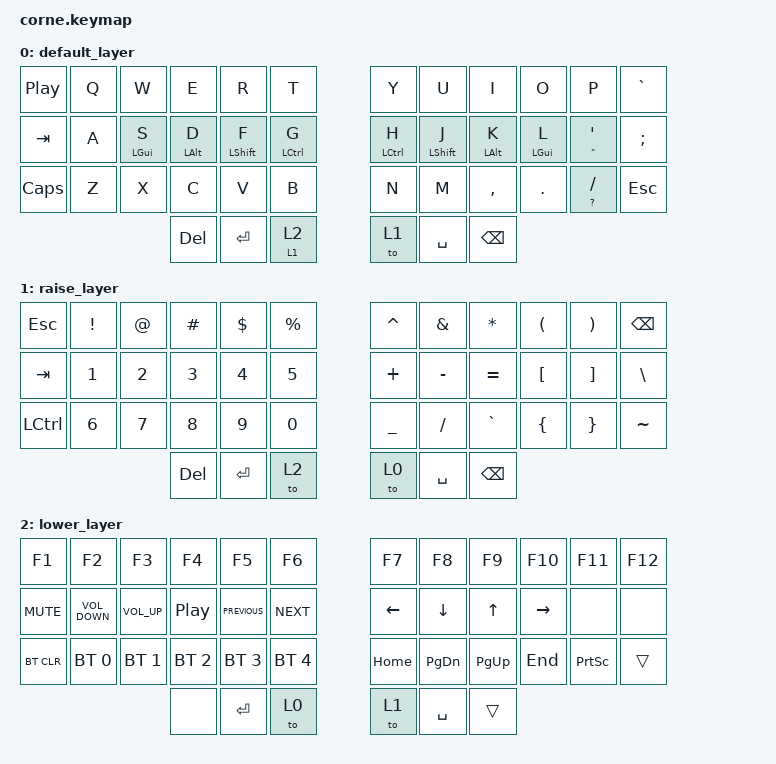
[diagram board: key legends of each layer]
/*
 * Copyright (c) 2020 The ZMK Contributors
 *
 * SPDX-License-Identifier: MIT
 */

#include <behaviors.dtsi>
#include <dt-bindings/zmk/bt.h>
#include <dt-bindings/zmk/keys.h>

/ {
    combos { compatible = "zmk,combos"; };

    behaviors {
        homerow_mod: homerow_mod {
            compatible = "zmk,behavior-hold-tap";
            label = "HOMEROW_MOD";
            bindings = <&kp>, <&kp>;

            #binding-cells = <2>;
            flavor = "balanced";
            tapping-term-ms = <200>;
        };

        symbols: symbols {
            compatible = "zmk,behavior-hold-tap";
            label = "SYMBOLS";
            bindings = <&kp>, <&kp>;

            #binding-cells = <2>;
            tapping-term-ms = <150>;
            flavor = "balanced";
        };

        momentaneous_layer: momentaneous_layer {
            compatible = "zmk,behavior-hold-tap";
            label = "MOMENTANEOUS_LAYER";
            bindings = <&mo>, <&to>;

            #binding-cells = <2>;
            tapping-term-ms = <150>;
            flavor = "balanced";
        };
    };

    keymap {
        compatible = "zmk,keymap";

        default_layer {
            // -----------------------------------------------------------------------------------------
            // |  TAB |  Q  |  W  |  E  |  R  |  T  |   |  Y  |  U   |  I  |  O  |  P  | BSPC |
            // | CTRL |  A  |  S  |  D  |  F  |  G  |   |  H  |  J   |  K  |  L  |  ;  |  '   |
            // | SHFT |  Z  |  X  |  C  |  V  |  B  |   |  N  |  M   |  ,  |  .  |  /  | ESC  |
            //                    | GUI | LWR | SPC |   | ENT | RSE  | ALT |

            bindings = <
&kp C_PP      &kp Q  &kp W                    &kp E                    &kp R                      &kp T                          &kp Y                        &kp U                      &kp I                    &kp O                    &kp P                       &kp GRAVE
&kp TAB       &kp A  &homerow_mod LEFT_GUI S  &homerow_mod LEFT_ALT D  &homerow_mod LEFT_SHIFT F  &homerow_mod LEFT_CONTROL G    &homerow_mod LEFT_CONTROL H  &homerow_mod LEFT_SHIFT J  &homerow_mod LEFT_ALT K  &homerow_mod LEFT_GUI L  &symbols DOUBLE_QUOTES SQT  &kp SEMI
&kp CAPSLOCK  &kp Z  &kp X                    &kp C                    &kp V                      &kp B                          &kp N                        &kp M                      &kp COMMA                &kp DOT                  &symbols QUESTION SLASH     &kp ESCAPE
                                              &kp DELETE               &kp RETURN                 &momentaneous_layer 1 2        &to 1                        &kp SPACE                  &kp BACKSPACE
            >;
        };

        raise_layer {
            // -----------------------------------------------------------------------------------------
            // |  TAB |  !  |  @  |  #  |  $  |  %  |   |  ^  |  &  |  *  |  (  |  )  | BSPC |
            // | CTRL |     |     |     |     |     |   |  -  |  =  |  [  |  ]  |  \  |  `   |
            // | SHFT |     |     |     |     |     |   |  _  |  +  |  {  |  }  | "|" |  ~   |
            //                    | GUI |     | SPC |   | ENT |     | ALT |

            bindings = <
&kp ESCAPE        &kp EXCLAMATION  &kp AT        &kp HASH      &kp DLLR      &kp PRCNT       &kp CARET  &kp AMPS   &kp ASTRK      &kp LEFT_PARENTHESIS  &kp RIGHT_PARENTHESIS  &kp BACKSPACE
&kp TAB           &kp NUMBER_1     &kp NUMBER_2  &kp NUMBER_3  &kp NUMBER_4  &kp NUMBER_5    &kp PLUS   &kp MINUS  &kp EQUAL      &kp LEFT_BRACKET      &kp RIGHT_BRACKET      &kp BACKSLASH
&kp LEFT_CONTROL  &kp NUMBER_6     &kp NUMBER_7  &kp NUMBER_8  &kp NUMBER_9  &kp NUMBER_0    &kp UNDER  &kp SLASH  &kp GRAVE      &kp LBRC              &kp RBRC               &kp TILDE
                                                 &kp DELETE    &kp RETURN    &to 2           &to 0      &kp SPACE  &kp BACKSPACE
            >;
        };

        lower_layer {
            // -----------------------------------------------------------------------------------------
            // |  TAB |  1  |  2  |  3  |  4  |  5  |   |  6  |  7  |  8  |  9  |  0  | BSPC |
            // | BTCLR| BT1 | BT2 | BT3 | BT4 | BT5 |   | LFT | DWN |  UP | RGT |     |      |
            // | SHFT |     |     |     |     |     |   |     |     |     |     |     |      |
            //                    | GUI |     | SPC |   | ENT |     | ALT |

            bindings = <
&kp F1      &kp F2             &kp F3           &kp F4        &kp F5          &kp F6          &kp F7          &kp F8          &kp F9        &kp F10          &kp F11          &kp F12
&kp C_MUTE  &kp C_VOLUME_DOWN  &kp C_VOLUME_UP  &kp C_PP      &kp C_PREVIOUS  &kp C_NEXT      &kp LEFT_ARROW  &kp DOWN_ARROW  &kp UP_ARROW  &kp RIGHT_ARROW  &none            &none
&bt BT_CLR  &bt BT_SEL 0       &bt BT_SEL 1     &bt BT_SEL 2  &bt BT_SEL 3    &bt BT_SEL 4    &kp HOME        &kp PAGE_DOWN   &kp PAGE_UP   &kp END          &kp PRINTSCREEN  &trans
                                                &none         &kp RETURN      &to 0           &to 1           &kp SPACE       &trans
            >;
        };
    };
};
